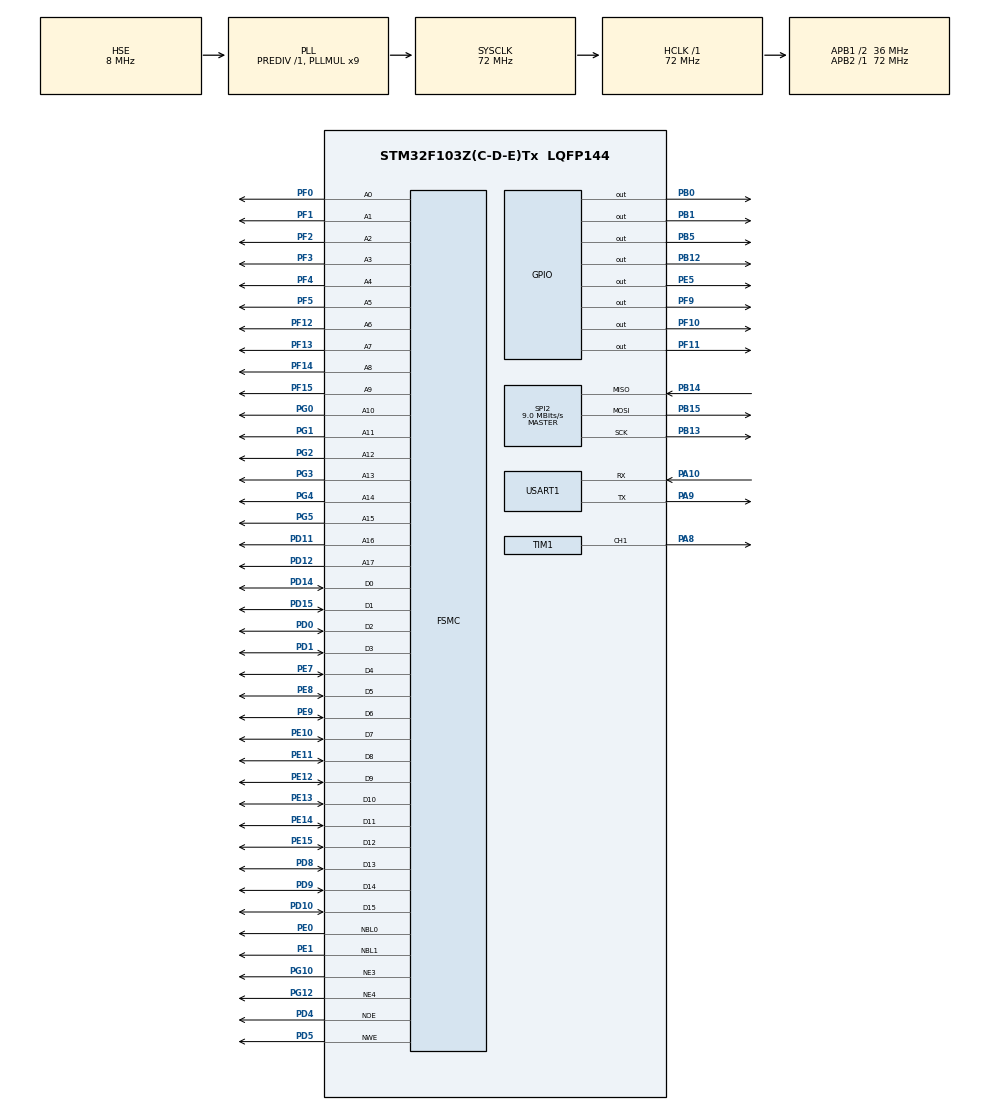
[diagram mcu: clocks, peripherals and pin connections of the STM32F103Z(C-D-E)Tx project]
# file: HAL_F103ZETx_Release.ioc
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Mcu.Family=STM32F1
SH.FSMC_D1_DA1.1=FSMC_D1,16b-d2
FSMC.AddressSetupTime2=0x00
FSMC.AddressSetupTime1=0x01
VP_SYS_VS_tim6.Mode=TIM6
SH.FSMC_D1_DA1.0=FSMC_D1,16b-d1
SH.FSMC_A12.0=FSMC_A12,18b-a2
SPI2.VirtualType=VM_MASTER
SH.FSMC_A6.0=FSMC_A6,18b-a2
PG2.Signal=FSMC_A12
PG4.Signal=FSMC_A14
SH.FSMC_NWE.0=FSMC_NWE,Lcd1
PG0.Signal=FSMC_A10
SH.FSMC_D0_DA0.1=FSMC_D0,16b-d2
SH.FSMC_NWE.1=FSMC_NWE,Sram2
SH.FSMC_D0_DA0.0=FSMC_D0,16b-d1
FSMC.ExtendedBusTurnAroundDuration1=0x01
PB13.Signal=SPI2_SCK
PB15.Signal=SPI2_MOSI
RCC.SYSCLKSource=RCC_SYSCLKSOURCE_PLLCLK
ProjectManager.StackSize=0x1000
TIM1.Prescaler=0x05
SPI2.CLKPolarity=SPI_POLARITY_HIGH
SH.FSMC_A11.0=FSMC_A11,18b-a2
PB0.PinState=GPIO_PIN_RESET
SH.FSMC_A7.0=FSMC_A7,18b-a2
RCC.HCLKFreq_Value=72000000
PD4.Signal=FSMC_NOE
RCC.APB2TimFreq_Value=72000000
PB5.PinState=GPIO_PIN_SET
PB12.PinState=GPIO_PIN_SET
PF12.Signal=FSMC_A6
PD0.Signal=FSMC_D2_DA2
PD8.Signal=FSMC_D13_DA13
PE5.Signal=GPIO_Output
OSC_OUT.Mode=HSE-External-Oscillator
SH.FSMC_A10.0=FSMC_A10,A10_1
PE1.Signal=FSMC_NBL1
OSC_OUT.Signal=RCC_OSC_OUT
RCC.AHBFreq_Value=72000000
SPI2.BaudRatePrescaler=SPI_BAUDRATEPRESCALER_4
RCC.PLLMUL=RCC_PLL_MUL9
SH.FSMC_NBL0.0=FSMC_NBL0,2ByteEnable2
SH.FSMC_D14_DA14.1=FSMC_D14,16b-d2
PE13.Signal=FSMC_D10_DA10
SH.FSMC_D14_DA14.0=FSMC_D14,16b-d1
SH.FSMC_D10_DA10.0=FSMC_D10,16b-d1
SH.FSMC_A14.0=FSMC_A14,18b-a2
SH.FSMC_D10_DA10.1=FSMC_D10,16b-d2
PE9.Signal=FSMC_D6_DA6
PA14.Mode=Serial_Wire
PB14.Mode=Full_Duplex_Master
SH.FSMC_A0.0=FSMC_A0,18b-a2
PF11.Signal=GPIO_Output
SH.FSMC_D6_DA6.0=FSMC_D6,16b-d1
SH.FSMC_D6_DA6.1=FSMC_D6,16b-d2
PE5.PinState=GPIO_PIN_SET
SPI2.CalculateBaudRate=9.0 MBits/s
SH.FSMC_A8.0=FSMC_A8,18b-a2
PA8.Signal=S_TIM1_CH1
FSMC.BusTurnAroundDuration1=0x01
FSMC.BusTurnAroundDuration2=0x01
PF3.Signal=FSMC_A3
VP_FREERTOS_VS_CMSIS_V1.Mode=CMSIS_V1
PE10.Signal=FSMC_D7_DA7
SH.FSMC_D5_DA5.0=FSMC_D5,16b-d1
VP_TIM1_VS_ClockSourceINT.Mode=Internal
FREERTOS.configTOTAL_HEAP_SIZE=30720
SH.FSMC_D5_DA5.1=FSMC_D5,16b-d2
SH.FSMC_D4_DA4.1=FSMC_D4,16b-d2
SH.FSMC_D4_DA4.0=FSMC_D4,16b-d1
Mcu.Package=LQFP144
PB1.Signal=GPIO_Output
NVIC.TimeBase=TIM6_IRQn
SPI2.Mode=SPI_MODE_MASTER
PD12.Signal=FSMC_A17_ALE
SH.FSMC_NBL1.0=FSMC_NBL1,2ByteEnable2
SH.FSMC_D13_DA13.0=FSMC_D13,16b-d1
NVIC.TimeBaseIP=TIM6
PA10.Signal=USART1_RX
SH.FSMC_D13_DA13.1=FSMC_D13,16b-d2
SH.FSMC_A13.0=FSMC_A13,18b-a2
SPI2.CLKPhase=SPI_PHASE_2EDGE
PF5.Signal=FSMC_A5
SH.FSMC_A1.0=FSMC_A1,18b-a2
SH.FSMC_D3_DA3.1=FSMC_D3,16b-d2
PB5.GPIO_Speed=GPIO_SPEED_FREQ_HIGH
SH.FSMC_D3_DA3.0=FSMC_D3,16b-d1
SH.FSMC_A9.0=FSMC_A9,18b-a2
PF14.Signal=FSMC_A8
RCC.APB1TimFreq_Value=72000000
SH.FSMC_D2_DA2.1=FSMC_D2,16b-d2
SH.FSMC_D2_DA2.0=FSMC_D2,16b-d1
SPI2.Direction=SPI_DIRECTION_2LINES
PF0.Signal=FSMC_A0
TIM1.Period=0xffff
PB13.Mode=Full_Duplex_Master
PE7.Signal=FSMC_D4_DA4
NVIC.USART1_IRQn=true\:5\:0\:false\:false\:true\:true\:true\:true
PD15.Signal=FSMC_D1_DA1
PG12.Signal=FSMC_NE4
RCC.PLLSourceVirtual=RCC_PLLSOURCE_HSE
FSMC.ExtendedAddressSetupTime1=0x01
SH.FSMC_D12_DA12.0=FSMC_D12,16b-d1
SH.FSMC_D12_DA12.1=FSMC_D12,16b-d2
FREERTOS.Tasks01=xTask00,-3,1024,vUserTask00,Default,NULL,Dynamic,NULL,NULL;xTask01,-3,1024,vUserTask01,Default,NULL,Dynamic,NULL,NULL;xTask02,-3,1024,vUserTask03,Default,NULL,Dynamic,NULL,NULL
SH.FSMC_A2.0=FSMC_A2,18b-a2
PA10.Mode=Asynchronous
FSMC.WriteOperation2=FSMC_WRITE_OPERATION_ENABLE
PG3.Signal=FSMC_A13
PG1.Signal=FSMC_A11
FSMC.ExtendedMode1=FSMC_EXTENDED_MODE_ENABLE
PG5.Signal=FSMC_A15
SH.FSMC_D9_DA9.1=FSMC_D9,16b-d2
PG10.Mode=NorPsramChipSelect3_2
TIM1.OCMode_1=TIM_OCMODE_TOGGLE
SH.FSMC_A16_CLE.0=FSMC_A16,18b-a2
PD1.Signal=FSMC_D3_DA3
SH.FSMC_D9_DA9.0=FSMC_D9,16b-d1
PD9.Signal=FSMC_D14_DA14
PD5.Signal=FSMC_NWE
RCC.APB1CLKDivider=RCC_HCLK_DIV2
PG10.Signal=FSMC_NE3
SH.FSMC_D8_DA8.0=FSMC_D8,16b-d1
SH.FSMC_D8_DA8.1=FSMC_D8,16b-d2
NVIC.TIM6_IRQn=true\:0\:0\:false\:false\:true\:false\:false\:true
PB0.GPIO_Speed=GPIO_SPEED_FREQ_HIGH
PD10.Signal=FSMC_D15_DA15
PA13.Signal=SYS_JTMS-SWDIO
PA9.Mode=Asynchronous
SH.S_TIM1_CH1.0=TIM1_CH1,Output Compare1 CH1
SH.FSMC_A3.0=FSMC_A3,18b-a2
ProjectManager.TargetToolchain=Makefile
SH.FSMC_A15.0=FSMC_A15,18b-a2
FSMC.DataSetupTime2=0x03
FSMC.DataSetupTime1=0x03
SPI2.CRCCalculation=SPI_CRCCALCULATION_DISABLE
PA9.Signal=USART1_TX
PF2.Signal=FSMC_A2
OSC_IN.Signal=RCC_OSC_IN
RCC.USBFreq_Value=72000000
PE11.Signal=FSMC_D8_DA8
PB12.GPIO_Speed=GPIO_SPEED_FREQ_HIGH
PB14.Signal=SPI2_MISO
SH.FSMC_D7_DA7.1=FSMC_D7,16b-d2
SH.FSMC_D7_DA7.0=FSMC_D7,16b-d1
FSMC.ExtendedDataSetupTime1=0x0f
board=custom
PG12.Mode=NorPsramChipSelect4_1
PB15.Mode=Full_Duplex_Master
RCC.APB2Freq_Value=72000000
PE14.Signal=FSMC_D11_DA11
PE15.Signal=FSMC_D12_DA12
SH.FSMC_A10.1=FSMC_A10,18b-a2
PE8.Signal=FSMC_D5_DA5
PF10.Signal=GPIO_Output
SH.FSMC_A4.0=FSMC_A4,18b-a2
PF15.Signal=FSMC_A9
PF13.Signal=FSMC_A7
PF1.Signal=FSMC_A1
PA13.Mode=Serial_Wire
Mcu.Name=STM32F103Z(C-D-E)Tx
PE0.Signal=FSMC_NBL0
PE12.Signal=FSMC_D9_DA9
SH.FSMC_A17_ALE.0=FSMC_A17,18b-a2
NVIC.TIM1_CC_IRQn=true\:5\:0\:false\:false\:true\:true\:true\:true
PD14.Signal=FSMC_D0_DA0
RCC.SYSCLKFreq_VALUE=72000000
PB5.Signal=GPIO_Output
OSC_IN.Mode=HSE-External-Oscillator
PD11.Signal=FSMC_A16_CLE
USART1.VirtualMode=VM_ASYNC
SH.FSMC_D15_DA15.1=FSMC_D15,16b-d2
SH.FSMC_D15_DA15.0=FSMC_D15,16b-d1
PA14.Signal=SYS_JTCK-SWCLK
ProjectManager.HeapSize=0x500
SH.FSMC_D11_DA11.1=FSMC_D11,16b-d2
TIM1.Channel-Output\ Compare1\ CH1=TIM_CHANNEL_1
SH.FSMC_D11_DA11.0=FSMC_D11,16b-d1
SH.FSMC_NOE.1=FSMC_NOE,Sram2
SH.FSMC_NOE.0=FSMC_NOE,Lcd1
PF9.Signal=GPIO_Output
NVIC.PriorityGroup=NVIC_PRIORITYGROUP_4
SH.FSMC_A5.0=FSMC_A5,18b-a2
PE5.GPIO_Speed=GPIO_SPEED_FREQ_HIGH
PF4.Signal=FSMC_A4
RCC.APB1Freq_Value=36000000
VP_CRC_VS_CRC.Mode=CRC_Activate
PB0.Signal=GPIO_Output
PB12.Signal=GPIO_Output

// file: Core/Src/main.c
/* USER CODE BEGIN Header */
/**
  ******************************************************************************
  * @file           : main.c
  * @brief          : Main program body
  ******************************************************************************
  * @attention
  *
  * <h2><center>&copy; Copyright (c) 2020 STMicroelectronics.
  * All rights reserved.</center></h2>
  *
  * This software component is licensed by ST under Ultimate Liberty license
  * SLA0044, the "License"; You may not use this file except in compliance with
  * the License. You may obtain a copy of the License at:
  *                             www.st.com/SLA0044
  *
  ******************************************************************************
  */
/* USER CODE END Header */

#include "main.h"
#include "cmsis_os.h"
#include "crc.h"
#include "spi.h"
#include "tim.h"
#include "usart.h"
#include "gpio.h"
#include "fsmc.h"

/* USER CODE BEGIN Includes */
#include "tftlcd.h"
#include "touch.h"
#include "spi_flash.h"
/* USER CODE END Includes */

void SystemClock_Config(void);
void MX_FREERTOS_Init(void);

int main(void)
{

  /* MCU Configuration--------------------------------------------------------*/

  /* Reset of all peripherals, Initializes the Flash interface and the Systick. */
  HAL_Init();

  /* Configure the system clock */
  SystemClock_Config();

  /* Initialize all configured peripherals */
  MX_GPIO_Init();
  MX_CRC_Init();
  MX_FSMC_Init();
  MX_TIM1_Init();
  MX_USART1_UART_Init();
  MX_SPI2_Init();
  /* USER CODE BEGIN 2 */
  TFTLCD_Init();
  GT9147_Init();
  /* USER CODE END 2 */

  /* Call init function for freertos objects (in freertos.c) */
  MX_FREERTOS_Init();
  /* Start scheduler */
  osKernelStart();

  /* We should never get here as control is now taken by the scheduler */
  /* Infinite loop */
  while (1)
  {

  }
}

void SystemClock_Config(void)
{
  RCC_OscInitTypeDef RCC_OscInitStruct = {0};
  RCC_ClkInitTypeDef RCC_ClkInitStruct = {0};

  /** Initializes the CPU, AHB and APB busses clocks
  */
  RCC_OscInitStruct.OscillatorType = RCC_OSCILLATORTYPE_HSE;
  RCC_OscInitStruct.HSEState = RCC_HSE_ON;
  RCC_OscInitStruct.HSEPredivValue = RCC_HSE_PREDIV_DIV1;
  RCC_OscInitStruct.HSIState = RCC_HSI_ON;
  RCC_OscInitStruct.PLL.PLLState = RCC_PLL_ON;
  RCC_OscInitStruct.PLL.PLLSource = RCC_PLLSOURCE_HSE;
  RCC_OscInitStruct.PLL.PLLMUL = RCC_PLL_MUL9;
  if (HAL_RCC_OscConfig(&RCC_OscInitStruct) != HAL_OK)
  {
    Error_Handler();
  }
  /** Initializes the CPU, AHB and APB busses clocks
  */
  RCC_ClkInitStruct.ClockType = RCC_CLOCKTYPE_HCLK|RCC_CLOCKTYPE_SYSCLK
                              |RCC_CLOCKTYPE_PCLK1|RCC_CLOCKTYPE_PCLK2;
  RCC_ClkInitStruct.SYSCLKSource = RCC_SYSCLKSOURCE_PLLCLK;
  RCC_ClkInitStruct.AHBCLKDivider = RCC_SYSCLK_DIV1;
  RCC_ClkInitStruct.APB1CLKDivider = RCC_HCLK_DIV2;
  RCC_ClkInitStruct.APB2CLKDivider = RCC_HCLK_DIV1;

  if (HAL_RCC_ClockConfig(&RCC_ClkInitStruct, FLASH_LATENCY_2) != HAL_OK)
  {
    Error_Handler();
  }
}

 /**
  * @brief  Period elapsed callback in non blocking mode
  * @note   This function is called  when TIM6 interrupt took place, inside
  * HAL_TIM_IRQHandler(). It makes a direct call to HAL_IncTick() to increment
  * a global variable "uwTick" used as application time base.
  * @param  htim : TIM handle
  * @retval None
  */
void HAL_TIM_PeriodElapsedCallback(TIM_HandleTypeDef *htim)
{
  if (htim->Instance == TIM6) {
    HAL_IncTick();
  }
}

void Error_Handler(void)
{
}

/************************ (C) COPYRIGHT STMicroelectronics *****END OF FILE****/

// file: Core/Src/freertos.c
/* USER CODE BEGIN Header */
/**
  ******************************************************************************
  * File Name          : freertos.c
  * Description        : Code for freertos applications
  ******************************************************************************
  * @attention
  *
  * <h2><center>&copy; Copyright (c) 2020 STMicroelectronics.
  * All rights reserved.</center></h2>
  *
  * This software component is licensed by ST under Ultimate Liberty license
  * SLA0044, the "License"; You may not use this file except in compliance with
  * the License. You may obtain a copy of the License at:
  *                             www.st.com/SLA0044
  *
  ******************************************************************************
  */
/* USER CODE END Header */

#include "FreeRTOS.h"
#include "task.h"
#include "main.h"
#include "cmsis_os.h"

/* USER CODE BEGIN Includes */
#include <stdio.h>
#include "atkled.h"
#include "tftlcd.h"
#include "touch.h"
#include "spi_flash.h"
/* USER CODE END Includes */

osThreadId xTask00Handle;
osThreadId xTask01Handle;
osThreadId xTask02Handle;

void vUserTask00(void const * argument);
void vUserTask01(void const * argument);
void vUserTask03(void const * argument);

void MX_FREERTOS_Init(void); /* (MISRA C 2004 rule 8.1) */

/* GetIdleTaskMemory prototype (linked to static allocation support) */
void vApplicationGetIdleTaskMemory( StaticTask_t **ppxIdleTaskTCBBuffer, StackType_t **ppxIdleTaskStackBuffer, uint32_t *pulIdleTaskStackSize );

/* USER CODE BEGIN GET_IDLE_TASK_MEMORY */
static StaticTask_t xIdleTaskTCBBuffer;
static StackType_t xIdleStack[configMINIMAL_STACK_SIZE];

void vApplicationGetIdleTaskMemory( StaticTask_t **ppxIdleTaskTCBBuffer, StackType_t **ppxIdleTaskStackBuffer, uint32_t *pulIdleTaskStackSize )
{
  *ppxIdleTaskTCBBuffer = &xIdleTaskTCBBuffer;
  *ppxIdleTaskStackBuffer = &xIdleStack[0];
  *pulIdleTaskStackSize = configMINIMAL_STACK_SIZE;
  /* place for user code */
}
/* USER CODE END GET_IDLE_TASK_MEMORY */

void MX_FREERTOS_Init(void) {

  /* Create the thread(s) */
  /* definition and creation of xTask00 */
  osThreadDef(xTask00, vUserTask00, osPriorityIdle, 0, 1024);
  xTask00Handle = osThreadCreate(osThread(xTask00), NULL);

  /* definition and creation of xTask01 */
  osThreadDef(xTask01, vUserTask01, osPriorityIdle, 0, 1024);
  xTask01Handle = osThreadCreate(osThread(xTask01), NULL);

  /* definition and creation of xTask02 */
  osThreadDef(xTask02, vUserTask03, osPriorityIdle, 0, 1024);
  xTask02Handle = osThreadCreate(osThread(xTask02), NULL);

}

/* USER CODE BEGIN Header_vUserTask00 */
uint8_t ExtSRAM[1024*1024] __attribute__((section(".sram")));
/**
  * @brief  Function implementing the xTask00 thread.
  * @param  argument: Not used
  * @retval None
  */
/* USER CODE END Header_vUserTask00 */
void vUserTask00(void const * argument)
{
  /* USER CODE BEGIN vUserTask00 */
  /* Infinite loop */
  for(;;)
  {
    LED0=LEDON;
    LED1=LEDOFF;
    osDelay(500);
    LED0=LEDOFF;
    LED1=LEDON;
    osDelay(500);
  }
  /* USER CODE END vUserTask00 */
}

void vUserTask01(void const * argument)
{
  /* USER CODE BEGIN vUserTask01 */
  uint8_t t=0;
	uint8_t i=0;
 	uint16_t lastpos[5][2];		//记录最后一次的数据
  /* Infinite loop */
  for(;;)
  {
		tp_dev.scan(0);
		for(t=0;t<CT_MAX_TOUCH;t++){
			if((tp_dev.sta)&(1<<t)){
				if(tp_dev.x[t]<lcddev.width&&tp_dev.y[t]<lcddev.height){
					if(lastpos[t][0]==0XFFFF){
						lastpos[t][0] = tp_dev.x[t];
						lastpos[t][1] = tp_dev.y[t];
					}
					lcd_draw_bline(lastpos[t][0],lastpos[t][1],tp_dev.x[t],tp_dev.y[t],2,POINT_COLOR_TBL[t]);//画线
					lastpos[t][0]=tp_dev.x[t];
					lastpos[t][1]=tp_dev.y[t];
					if(tp_dev.x[t]>(lcddev.width-24)&&tp_dev.y[t]<16){
						Load_Drow_Dialog();//清除
					}
				}
			}else{
        lastpos[t][0]=0XFFFF;
      }
		}
		osDelay(5);i++;
		if(i%20==0){
      LED0=!LED0;
    }
  }
  /* USER CODE END vUserTask01 */
}

void vUserTask03(void const * argument)
{
  for(;;)
  {
    osDelay(1);
  }
}

/************************ (C) COPYRIGHT STMicroelectronics *****END OF FILE****/
